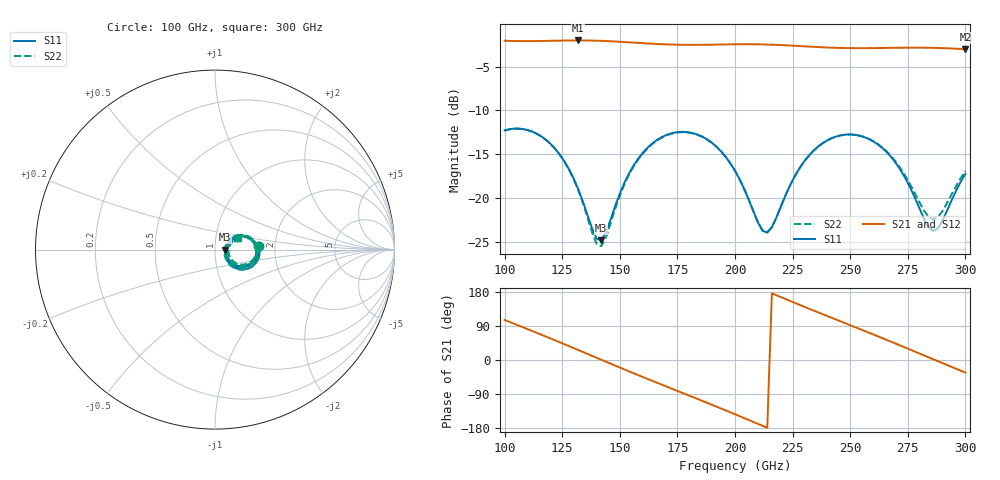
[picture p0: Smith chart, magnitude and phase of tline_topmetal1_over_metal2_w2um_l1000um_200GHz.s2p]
#  GHZ S DB R 50
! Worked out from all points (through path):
!   101 points, 100 GHz to 300 GHz, reference 50 ohm
!   highest |S21| = -2.01 dB at 132 GHz (marker M1); lowest = -3.0 dB at 300 GHz (marker M2)
!   group delay of S21, straight-line fit = 6.93 ps
!   lowest |S11| = -24.8 dB at 142 GHz (marker M3), VSWR 1.12, Z = 56.1 + j0.039 ohm
!   |S11| at or under -10 dB: start of sweep to end of sweep
!   |S22| runs from -25.5 to -12.1 dB; largest |S21 - S12| = 8.7e-14
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100  -12.28 4.2  -2.04 105.7  -2.04 105.7  -12.29 4.3
108  -12.12 -10.8  -2.08 86.2  -2.08 86.2  -12.13 -10.8
116  -12.97 -25.5  -2.07 66.6  -2.07 66.6  -12.99 -25.7
124  -15.05 -38.4  -2.03 46.6  -2.03 46.6  -15.08 -39.0
132  -19.01 -44.3  -2.01 26.3  -2.01 26.3  -19.13 -45.6
134  -20.41 -42.7  -2.01 21.1  -2.01 21.1  -20.59 -44.2
140  -24.65 -16.3  -2.04 5.7  -2.04 5.7  -25.26 -17.3
142  -24.81 0.3  -2.06 0.6  -2.06 0.6  -25.49 1.0
154  -17.19 31.9  -2.22 -30.0  -2.22 -30.0  -17.33 34.1
168  -13.07 12.3  -2.43 -64.6  -2.43 -64.6  -13.13 14.0
184  -12.78 -16.2  -2.51 -103.5  -2.51 -103.5  -12.81 -14.6
200  -16.88 -38.9  -2.45 -143.2  -2.45 -143.2  -16.90 -37.3
210  -22.81 -26.0  -2.45 -168.7  -2.45 -168.7  -22.79 -24.3
214  -23.94 -1.2  -2.47 -178.9  -2.47 -178.9  -23.91 0.4
224  -18.49 30.4  -2.59 155.7  -2.59 155.7  -18.50 32.0
234  -14.61 21.8  -2.74 130.8  -2.74 130.8  -14.62 23.6
244  -12.96 5.9  -2.85 106.4  -2.85 106.4  -12.97 8.0
252  -12.78 -8.0  -2.89 86.9  -2.89 86.9  -12.77 -5.5
268  -15.39 -33.0  -2.85 47.6  -2.85 47.6  -15.28 -29.2
278  -19.92 -36.4  -2.83 22.4  -2.83 22.4  -19.43 -30.9
286  -23.75 -5.6  -2.85 2.1  -2.85 2.1  -22.42 -3.6
300  -17.23 28.8  -3.00 -33.3  -3.00 -33.3  -16.89 26.0
